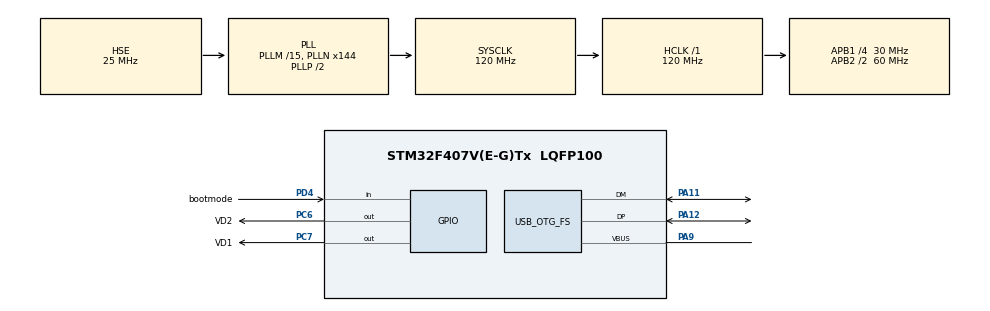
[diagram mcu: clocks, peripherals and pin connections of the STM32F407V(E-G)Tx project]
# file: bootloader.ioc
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Mcu.Family=STM32F4
USB_DEVICE.CLASS_NAME_FS=CDC
PH0-OSC_IN.Signal=RCC_OSC_IN
RCC.CortexFreq_Value=120000000
USB_DEVICE.VirtualModeFS=Cdc_FS
PC6.Signal=GPIO_Output
PC6.GPIO_Label=VD2
PA11.Mode=Device_Only
USB_DEVICE.VirtualMode-CDC_FS=Cdc
RCC.APB1CLKDivider=RCC_HCLK_DIV4
RCC.SYSCLKSource=RCC_SYSCLKSOURCE_PLLCLK
ProjectManager.StackSize=0x400
PD4.GPIO_PuPd=GPIO_PULLUP
PA9.Mode=Activate_VBUS
PA12.Signal=USB_OTG_FS_DP
TIM1.Prescaler=60000-1
ProjectManager.TargetToolchain=STM32CubeIDE
RCC.HCLKFreq_Value=120000000
VP_USB_DEVICE_VS_USB_DEVICE_CDC_FS.Mode=CDC_FS
PD4.Signal=GPIO_Input
RCC.APB2TimFreq_Value=120000000
PA9.Signal=USB_OTG_FS_VBUS
PC7.Signal=GPIO_Output
RCC.LSE_VALUE=32768
RCC.AHBFreq_Value=120000000
PH0-OSC_IN.Mode=HSE-External-Oscillator
RCC.HSE_VALUE=25000000
RCC.RCC_RTC_Clock_Source_FROM_HSE=RCC_RTCCLKSOURCE_HSE_DIV25
board=custom
PC7.GPIO_Speed=GPIO_SPEED_FREQ_LOW
RCC.VCOOutputFreq_Value=240000000
RCC.APB2Freq_Value=60000000
PD4.GPIO_Label=bootmode
PC7.PinState=GPIO_PIN_SET
PH1-OSC_OUT.Signal=RCC_OSC_OUT
RCC.RCC_RTC_Clock_SourceVirtual=RCC_RTCCLKSOURCE_HSE_DIV25
Mcu.Name=STM32F407V(E-G)Tx
VP_TIM1_VS_ClockSourceINT.Mode=Internal
PC7.GPIO_Label=VD1
PH1-OSC_OUT.Mode=HSE-External-Oscillator
RCC.48MHZClocksFreq_Value=48000000
RCC.SYSCLKFreq_VALUE=120000000
Mcu.Package=LQFP100
PA12.Mode=Device_Only
NVIC.OTG_FS_IRQn=true\:0\:0\:false\:false\:true\:false\:true
PA11.Signal=USB_OTG_FS_DM
USB_OTG_FS.VirtualMode=Device_Only
ProjectManager.HeapSize=0x200
NVIC.TIM1_UP_TIM10_IRQn=true\:0\:0\:false\:false\:true\:true\:true
RCC.HSI_VALUE=16000000
RCC.PLLQ=5
NVIC.PriorityGroup=NVIC_PRIORITYGROUP_4
RCC.APB2CLKDivider=RCC_HCLK_DIV2
RCC.PLLM=15
RCC.PLLN=144
RCC.APB1TimFreq_Value=60000000
TIM1.Period=1000-1
RCC.APB1Freq_Value=30000000

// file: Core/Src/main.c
/* USER CODE BEGIN Header */
/**
  ******************************************************************************
  * @file           : main.c
  * @brief          : Main program body
  ******************************************************************************
  * @attention
  *
  * <h2><center>&copy; Copyright (c) 2021 STMicroelectronics.
  * All rights reserved.</center></h2>
  *
  * This software component is licensed by ST under BSD 3-Clause license,
  * the "License"; You may not use this file except in compliance with the
  * License. You may obtain a copy of the License at:
  *                        opensource.org/licenses/BSD-3-Clause
  *
  ******************************************************************************
  */
/* USER CODE END Header */
#include "main.h"
#include "usb_device.h"

/* USER CODE BEGIN Includes */
#include "flash.h"
#include "usbd_cdc_if.h"
/* USER CODE END Includes */

/* USER CODE BEGIN PTD */
typedef  void (*pFunction)(void);
/* USER CODE END PTD */

/* USER CODE BEGIN PD */
#define FALSE 0
#define TRUE 1
#define VECT_TAB_OFFSET  0x10000  /* 0x00 */
pFunction Jump_To_Application;
uint32_t JumpAddress;
/* Global variables. */
static uint8_t xmodem_packet_number = 1u;         /**< Packet number counter. */
static uint32_t xmodem_actual_flash_address = 0u; /**< Address where we have to write. */
static uint8_t x_first_packet_received = FALSE;   /**< First packet or not. */

/* Local functions. */
//https://github.com/ferenc-nemeth/stm32-bootloader
/* Xmodem (128 bytes) packet format
 * Byte  0:       Header
 * Byte  1:       Packet number
 * Byte  2:       Packet number complemen
 * Bytes 3-130:   Data
 * Bytes 131-132: CRC
 */

/* Xmodem (1024 bytes) packet format
 * Byte  0:         Header
 * Byte  1:         Packet number
 * Byte  2:         Packet number complement
 * Bytes 3-1026:    Data
 * Bytes 1027-1028: CRC
 */

/* Maximum allowed errors (user defined). */
#define X_MAX_ERRORS ((uint8_t)3u)

/* Sizes of the packets. */
#define X_PACKET_NUMBER_SIZE  ((uint16_t)2u)
#define X_PACKET_128_SIZE     ((uint16_t)128u)
#define X_PACKET_1024_SIZE    ((uint16_t)1024u)
#define X_PACKET_CRC_SIZE     ((uint16_t)2u)

/* Indexes inside packets. */
#define X_PACKET_NUMBER_INDEX             ((uint16_t)0u)
#define X_PACKET_NUMBER_COMPLEMENT_INDEX  ((uint16_t)1u)
#define X_PACKET_CRC_HIGH_INDEX           ((uint16_t)0u)
#define X_PACKET_CRC_LOW_INDEX            ((uint16_t)1u)

/* Bytes defined by the protocol. */
#define X_SOH ((uint8_t)0x01u)  /**< Start Of Header (128 bytes). */
#define X_STX ((uint8_t)0x02u)  /**< Start Of Header (1024 bytes). */
#define X_EOT ((uint8_t)0x04u)  /**< End Of Transmission. */
#define X_ACK ((uint8_t)0x06u)  /**< Acknowledge. */
#define X_NAK ((uint8_t)0x15u)  /**< Not Acknowledge. */
#define X_CAN ((uint8_t)0x18u)  /**< Cancel. */
#define X_C   ((uint8_t)0x43u)  /**< ASCII "C" to notify the host we want to use CRC16. */

#define FLASH_OK ((uint16_t)1u)

typedef enum {
	UART_OK,
	UART_ERROR
} uart_status;

/* Status report for the functions. */
typedef enum {
  X_OK            = 0x00u, /**< The action was successful. */
  X_ERROR_CRC     = 0x01u, /**< CRC calculation error. */
  X_ERROR_NUMBER  = 0x02u, /**< Packet number mismatch error. */
  X_ERROR_UART    = 0x04u, /**< UART communication error. */
  X_ERROR_FLASH   = 0x08u, /**< Flash related error. */
  X_ERROR         = 0xFFu  /**< Generic error. */
} xmodem_status;
static uint16_t xmodem_calc_crc(uint8_t *data, uint16_t length);
static xmodem_status xmodem_handle_packet(uint8_t size);
static xmodem_status xmodem_error_handler(uint8_t *error_number, uint8_t max_error_number);
int xmodem_receive(void);
/* USER CODE END PD */

TIM_HandleTypeDef htim1;

/* USER CODE BEGIN PV */
const uint16_t crctab16[] = {
	0x0000, 0x1189, 0x2312, 0x329B, 0x4624, 0x57AD, 0x6536, 0x74BF,
	0x8C48, 0x9DC1, 0xAF5A, 0xBED3, 0xCA6C, 0xDBE5, 0xE97E, 0xF8F7,
	0x1081, 0x0108, 0x3393, 0x221A, 0x56A5, 0x472C, 0x75B7, 0x643E,
	0x9CC9, 0x8D40, 0xBFDB, 0xAE52, 0xDAED, 0xCB64, 0xF9FF, 0xE876,
	0x2102, 0x308B, 0x0210, 0x1399, 0x6726, 0x76AF, 0x4434, 0x55BD,
	0xAD4A, 0xBCC3, 0x8E58, 0x9FD1, 0xEB6E, 0xFAE7, 0xC87C, 0xD9F5,
	0x3183, 0x200A, 0x1291, 0x0318, 0x77A7, 0x662E, 0x54B5, 0x453C,
	0xBDCB, 0xAC42, 0x9ED9, 0x8F50, 0xFBEF, 0xEA66, 0xD8FD, 0xC974,
	0x4204, 0x538D, 0x6116, 0x709F, 0x0420, 0x15A9, 0x2732, 0x36BB,
	0xCE4C, 0xDFC5, 0xED5E, 0xFCD7, 0x8868, 0x99E1, 0xAB7A, 0xBAF3,
	0x5285, 0x430C, 0x7197, 0x601E, 0x14A1, 0x0528, 0x37B3, 0x263A,
	0xDECD, 0xCF44, 0xFDDF, 0xEC56, 0x98E9, 0x8960, 0xBBFB, 0xAA72,
	0x6306, 0x728F, 0x4014, 0x519D, 0x2522, 0x34AB, 0x0630, 0x17B9,
	0xEF4E, 0xFEC7, 0xCC5C, 0xDDD5, 0xA96A, 0xB8E3, 0x8A78, 0x9BF1,
	0x7387, 0x620E, 0x5095, 0x411C, 0x35A3, 0x242A, 0x16B1, 0x0738,
	0xFFCF, 0xEE46, 0xDCDD, 0xCD54, 0xB9EB, 0xA862, 0x9AF9, 0x8B70,
	0x8408, 0x9581, 0xA71A, 0xB693, 0xC22C, 0xD3A5, 0xE13E, 0xF0B7,
	0x0840, 0x19C9, 0x2B52, 0x3ADB, 0x4E64, 0x5FED, 0x6D76, 0x7CFF,
	0x9489, 0x8500, 0xB79B, 0xA612, 0xD2AD, 0xC324, 0xF1BF, 0xE036,
	0x18C1, 0x0948, 0x3BD3, 0x2A5A, 0x5EE5, 0x4F6C, 0x7DF7, 0x6C7E,
	0xA50A, 0xB483, 0x8618, 0x9791, 0xE32E, 0xF2A7, 0xC03C, 0xD1B5,
	0x2942, 0x38CB, 0x0A50, 0x1BD9, 0x6F66, 0x7EEF, 0x4C74, 0x5DFD,
	0xB58B, 0xA402, 0x9699, 0x8710, 0xF3AF, 0xE226, 0xD0BD, 0xC134,
	0x39C3, 0x284A, 0x1AD1, 0x0B58, 0x7FE7, 0x6E6E, 0x5CF5, 0x4D7C,
	0xC60C, 0xD785, 0xE51E, 0xF497, 0x8028, 0x91A1, 0xA33A, 0xB2B3,
	0x4A44, 0x5BCD, 0x6956, 0x78DF, 0x0C60, 0x1DE9, 0x2F72, 0x3EFB,
	0xD68D, 0xC704, 0xF59F, 0xE416, 0x90A9, 0x8120, 0xB3BB, 0xA232,
	0x5AC5, 0x4B4C, 0x79D7, 0x685E, 0x1CE1, 0x0D68, 0x3FF3, 0x2E7A,
	0xE70E, 0xF687, 0xC41C, 0xD595, 0xA12A, 0xB0A3, 0x8238, 0x93B1,
	0x6B46, 0x7ACF, 0x4854, 0x59DD, 0x2D62, 0x3CEB, 0x0E70, 0x1FF9,
	0xF78F, 0xE606, 0xD49D, 0xC514, 0xB1AB, 0xA022, 0x92B9, 0x8330,
	0x7BC7, 0x6A4E, 0x58D5, 0x495C, 0x3DE3, 0x2C6A, 0x1EF1, 0x0F78
};

uint16_t crc16(size_t start, size_t stop) {
	uint16_t res = 0xffff;

	for (size_t address = start; address<stop;address++) {
		uint8_t b = *(uint8_t*)address;
		res = ((res >> 8) & 0xff) ^ crctab16[(res ^ b) & 0xff];
	}

	return (~res) & 0xffff;
}
/* USER CODE END PV */

void SystemClock_Config(void);
static void MX_GPIO_Init(void);
static void MX_TIM1_Init(void);

/* USER CODE BEGIN 0 */
int _write(int file, char *ptr, int len)
{
	/* Implement your write code here, this is used by puts and printf for example */
	int i=0;
	for(i=0 ; i<len ; i++)
		ITM_SendChar((*ptr++));
	return len;
}
/* USER CODE END 0 */

int main(void)
{

  /* MCU Configuration--------------------------------------------------------*/

  /* Reset of all peripherals, Initializes the Flash interface and the Systick. */
  HAL_Init();

  /* Configure the system clock */
  SystemClock_Config();

  /* USER CODE BEGIN SysInit */
  MX_GPIO_Init();
  //If button is not pressed bootmode_pin has logic high
  if (HAL_GPIO_ReadPin(bootmode_GPIO_Port, bootmode_Pin)){
	  //Check if there is new frameware? uploaded via web interface
	  if (((*(__IO uint32_t*)FLASH_USER_START_ADDR) & 0x2FFE0000 ) == 0x20020000){
		  HAL_GPIO_TogglePin(VD1_GPIO_Port, VD1_Pin|VD2_Pin);

		  //Calculate checksum
		  uint16_t checksum = *(uint16_t*)(ADDR_FLASH_SECTOR_11+(128*1024)-2);
		  int size = *(int*)(ADDR_FLASH_SECTOR_11+128*1024-10);

		  uint16_t savedcrc = crc16(FLASH_USER_START_ADDR,FLASH_USER_START_ADDR+size);

		  if(savedcrc==checksum){//CRC OK, update application
			  clearFlash(CONFIGURATION_START_ADDR,CONFIGURATION_START_ADDR);
			  clearFlash(APP_FLASH_FIRST_PAGE_ADDRESS, FLASH_USER_START_ADDR-1);
			  CopyData(APP_FLASH_FIRST_PAGE_ADDRESS, FLASH_USER_START_ADDR, (ADDR_FLASH_SECTOR_11+GetSectorSize(ADDR_FLASH_SECTOR_11)-1));
		  }

		  clearFlash(FLASH_USER_START_ADDR, ADDR_FLASH_SECTOR_11);
		  HAL_NVIC_SystemReset();
	  }

	  /* Check if valid stack address (RAM address) then jump to user application */
	  if ((((*(__IO uint32_t*)APP_FLASH_FIRST_PAGE_ADDRESS) & 0x2FFE0000 ) == 0x20020000))
	  {
		  /* Jump to user application */
		  JumpAddress = *(__IO uint32_t*) (APP_FLASH_FIRST_PAGE_ADDRESS + 4);
		  __ISB();
		  __DSB();
		  //reset RCC settings
		  SysTick->CTRL &= ~(SysTick_CTRL_CLKSOURCE_Msk | SysTick_CTRL_ENABLE_Msk);
		  Jump_To_Application = (pFunction) JumpAddress;
		  /* Initialize user application's Stack Pointer */
		  __set_MSP(*(__IO uint32_t*) APP_FLASH_FIRST_PAGE_ADDRESS);
		  Jump_To_Application();
	  }
  }
  /* USER CODE END SysInit */

  /* Initialize all configured peripherals */
  MX_GPIO_Init();
  MX_USB_DEVICE_Init();
  MX_TIM1_Init();

  /* Infinite loop */
  /* USER CODE BEGIN WHILE */

  //Button was pressed, go to XMODEM update mode
  //https://github.com/ferenc-nemeth/stm32-bootloader

  uint8_t error_number = 0u;

  x_first_packet_received = FALSE;
  xmodem_packet_number = 1u;
  xmodem_actual_flash_address = APP_FLASH_FIRST_PAGE_ADDRESS;

  unsigned char header;

  while (1)
  {
	  /* USER CODE END WHILE */

	  /* USER CODE BEGIN 3 */
	  //XMODEM
	  if(!x_first_packet_received){
		  HAL_Delay(500);
		  uart_transmit_ch('C');
	  }

	  if (CDC_ReadRxBuffer_FS(&header, 1) == USB_CDC_RX_BUFFER_OK){
		  xmodem_status packet_status = X_ERROR;
		  switch(header)
		  {
		  case X_SOH:
		  case X_STX:
			  while(CDC_GetRxBufferBytesAvailable_FS()<132);
			  packet_status = xmodem_handle_packet(header);
			  if (X_OK == packet_status)
			  {
				  x_first_packet_received = TRUE;
				  uart_transmit_ch(X_ACK);
			  }
			  /* If the error was flash related, then immediately set the error counter to max (graceful abort). */
			  else if (X_ERROR_FLASH == packet_status)
			  {
				  error_number = X_MAX_ERRORS;
				  xmodem_error_handler(&error_number, X_MAX_ERRORS);
			  }
			  /* Error while processing the packet, either send a NAK or do graceful abort. */
			  else
			  {
				  xmodem_error_handler(&error_number, X_MAX_ERRORS);
			  }
			  break;
			  /* End of Transmission. */
		  case X_EOT:
			  /* ACK, feedback to user (as a text), then jump to user application. */
			  (void)uart_transmit_ch(X_ACK);
			  clearFlash(CONFIGURATION_START_ADDR,CONFIGURATION_START_ADDR);
			  (void)uart_transmit_str((uint8_t*)"\n\rFirmware updated!\n\r");
			  break;
			  /* Abort from host. */
		  case X_CAN:
			  //status = X_ERROR;
			  break;
		  default:
			  /* Wrong header. */
				xmodem_error_handler(&error_number, X_MAX_ERRORS);
			  break;
		  }
	  }
	  header = 0x00;
  }
  /* USER CODE END 3 */
}

void SystemClock_Config(void)
{
  RCC_OscInitTypeDef RCC_OscInitStruct = {0};
  RCC_ClkInitTypeDef RCC_ClkInitStruct = {0};

  /** Configure the main internal regulator output voltage
  */
  __HAL_RCC_PWR_CLK_ENABLE();
  __HAL_PWR_VOLTAGESCALING_CONFIG(PWR_REGULATOR_VOLTAGE_SCALE1);
  /** Initializes the RCC Oscillators according to the specified parameters
  * in the RCC_OscInitTypeDef structure.
  */
  RCC_OscInitStruct.OscillatorType = RCC_OSCILLATORTYPE_HSE;
  RCC_OscInitStruct.HSEState = RCC_HSE_ON;
  RCC_OscInitStruct.PLL.PLLState = RCC_PLL_ON;
  RCC_OscInitStruct.PLL.PLLSource = RCC_PLLSOURCE_HSE;
  RCC_OscInitStruct.PLL.PLLM = 15;
  RCC_OscInitStruct.PLL.PLLN = 144;
  RCC_OscInitStruct.PLL.PLLP = RCC_PLLP_DIV2;
  RCC_OscInitStruct.PLL.PLLQ = 5;
  if (HAL_RCC_OscConfig(&RCC_OscInitStruct) != HAL_OK)
  {
    Error_Handler();
  }
  /** Initializes the CPU, AHB and APB buses clocks
  */
  RCC_ClkInitStruct.ClockType = RCC_CLOCKTYPE_HCLK|RCC_CLOCKTYPE_SYSCLK
                              |RCC_CLOCKTYPE_PCLK1|RCC_CLOCKTYPE_PCLK2;
  RCC_ClkInitStruct.SYSCLKSource = RCC_SYSCLKSOURCE_PLLCLK;
  RCC_ClkInitStruct.AHBCLKDivider = RCC_SYSCLK_DIV1;
  RCC_ClkInitStruct.APB1CLKDivider = RCC_HCLK_DIV4;
  RCC_ClkInitStruct.APB2CLKDivider = RCC_HCLK_DIV2;

  if (HAL_RCC_ClockConfig(&RCC_ClkInitStruct, FLASH_LATENCY_3) != HAL_OK)
  {
    Error_Handler();
  }
}

static void MX_TIM1_Init(void)
{

  TIM_ClockConfigTypeDef sClockSourceConfig = {0};
  TIM_MasterConfigTypeDef sMasterConfig = {0};

  htim1.Instance = TIM1;
  htim1.Init.Prescaler = 60000-1;
  htim1.Init.CounterMode = TIM_COUNTERMODE_UP;
  htim1.Init.Period = 1000-1;
  htim1.Init.ClockDivision = TIM_CLOCKDIVISION_DIV1;
  htim1.Init.RepetitionCounter = 0;
  htim1.Init.AutoReloadPreload = TIM_AUTORELOAD_PRELOAD_DISABLE;
  if (HAL_TIM_Base_Init(&htim1) != HAL_OK)
  {
    Error_Handler();
  }
  sClockSourceConfig.ClockSource = TIM_CLOCKSOURCE_INTERNAL;
  if (HAL_TIM_ConfigClockSource(&htim1, &sClockSourceConfig) != HAL_OK)
  {
    Error_Handler();
  }
  sMasterConfig.MasterOutputTrigger = TIM_TRGO_RESET;
  sMasterConfig.MasterSlaveMode = TIM_MASTERSLAVEMODE_DISABLE;
  if (HAL_TIMEx_MasterConfigSynchronization(&htim1, &sMasterConfig) != HAL_OK)
  {
    Error_Handler();
  }
  /* USER CODE BEGIN TIM1_Init 2 */
  HAL_TIM_Base_Start_IT(&htim1); // Start the uptime timer
  /* USER CODE END TIM1_Init 2 */

}

static void MX_GPIO_Init(void)
{
  GPIO_InitTypeDef GPIO_InitStruct = {0};

  /* GPIO Ports Clock Enable */
  __HAL_RCC_GPIOH_CLK_ENABLE();
  __HAL_RCC_GPIOC_CLK_ENABLE();
  __HAL_RCC_GPIOA_CLK_ENABLE();
  __HAL_RCC_GPIOD_CLK_ENABLE();

  /*Configure GPIO pin Output Level */
  HAL_GPIO_WritePin(VD2_GPIO_Port, VD2_Pin, GPIO_PIN_RESET);

  /*Configure GPIO pin Output Level */
  HAL_GPIO_WritePin(VD1_GPIO_Port, VD1_Pin, GPIO_PIN_SET);

  /*Configure GPIO pins : VD2_Pin VD1_Pin */
  GPIO_InitStruct.Pin = VD2_Pin|VD1_Pin;
  GPIO_InitStruct.Mode = GPIO_MODE_OUTPUT_PP;
  GPIO_InitStruct.Pull = GPIO_NOPULL;
  GPIO_InitStruct.Speed = GPIO_SPEED_FREQ_LOW;
  HAL_GPIO_Init(GPIOC, &GPIO_InitStruct);

  /*Configure GPIO pin : bootmode_Pin */
  GPIO_InitStruct.Pin = bootmode_Pin;
  GPIO_InitStruct.Mode = GPIO_MODE_INPUT;
  GPIO_InitStruct.Pull = GPIO_PULLUP;
  HAL_GPIO_Init(bootmode_GPIO_Port, &GPIO_InitStruct);

}

/* USER CODE BEGIN 4 */
/**
 * @brief   Calculates the CRC-16 for the input package.
 * @param   *data:  Array of the data which we want to calculate.
 * @param   length: Size of the data, either 128 or 1024 bytes.
 * @return  status: The calculated CRC.
 */
static uint16_t xmodem_calc_crc(uint8_t *data, uint16_t length)
{
    uint16_t crc = 0u;
    while (length)
    {
        length--;
        crc = crc ^ ((uint16_t)*data++ << 8u);
        for (uint8_t i = 0u; i < 8u; i++)
        {
            if (crc & 0x8000u)
            {
                crc = (crc << 1u) ^ 0x1021u;
            }
            else
            {
                crc = crc << 1u;
            }
        }
    }
    return crc;
}

/**
 * @brief   This function handles the data packet we get from the xmodem protocol.
 * @param   header: SOH or STX.
 * @return  status: Report about the packet.
 */
static xmodem_status xmodem_handle_packet(uint8_t header)
{
  xmodem_status status = X_OK;
  uint16_t size = 0u;

  /* 2 bytes for packet number, 1024 for data, 2 for CRC*/
  uint8_t received_packet_number[X_PACKET_NUMBER_SIZE];
  uint8_t received_packet_data[X_PACKET_1024_SIZE];
  uint8_t received_packet_crc[X_PACKET_CRC_SIZE];

  /* Get the size of the data. */
  if (X_SOH == header)
  {
    size = X_PACKET_128_SIZE;
  }
  else if (X_STX == header)
  {
    size = X_PACKET_1024_SIZE;
  }
  else
  {
    /* Wrong header type. This shoudn't be possible... */
    status |= X_ERROR;
  }

  uart_status comm_status = UART_OK;
  /* Get the packet number, data and CRC from UART. */

  comm_status |= CDC_ReadRxBuffer_FS(&received_packet_number[0u], X_PACKET_NUMBER_SIZE);
  comm_status |= CDC_ReadRxBuffer_FS(&received_packet_data[0u], size);
  comm_status |= CDC_ReadRxBuffer_FS(&received_packet_crc[0u], X_PACKET_CRC_SIZE);

  CDC_FlushRxBuffer_FS();
  /* Merge the two bytes of CRC. */
  uint16_t crc_received = ((uint16_t)received_packet_crc[X_PACKET_CRC_HIGH_INDEX] << 8u) | ((uint16_t)received_packet_crc[X_PACKET_CRC_LOW_INDEX]);
  /* We calculate it too. */
  uint16_t crc_calculated = xmodem_calc_crc(&received_packet_data[0u], size);

  /* Communication error. */
  if (UART_OK != comm_status)
  {
    status |= X_ERROR_UART;
  }

  /* If it is the first packet, then erase the memory. */
  if ((X_OK == status) && (FALSE == x_first_packet_received))
  {
    if (FLASH_OK == clearFlash(APP_FLASH_FIRST_PAGE_ADDRESS, FLASH_USER_START_ADDR-1))
    {
      x_first_packet_received = TRUE;
    }
    else
    {
      status |= X_ERROR_FLASH;
    }
  }

  /* Error handling and flashing. */
  if (X_OK == status)
  {
    if (xmodem_packet_number != received_packet_number[0u])
    {
      /* Packet number counter mismatch. */
      status |= X_ERROR_NUMBER;
    }
    if (255u != (received_packet_number[X_PACKET_NUMBER_INDEX] + received_packet_number[X_PACKET_NUMBER_COMPLEMENT_INDEX]))
    {
      /* The sum of the packet number and packet number complement aren't 255. */
      /* The sum always has to be 255. */
      status |= X_ERROR_NUMBER;
    }
    if (crc_calculated != crc_received)
    {
      /* The calculated and received CRC are different. */
      status |= X_ERROR_CRC;
    }
  }

    /* Do the actual flashing (if there weren't any errors). */
    if ((X_OK == status) && (FLASH_OK != WriteDeviceAddressOffset((char*)&received_packet_data[0u], size, xmodem_actual_flash_address-APP_FLASH_FIRST_PAGE_ADDRESS)))
    {
      /* Flashing error. */
      status |= X_ERROR_FLASH;
    }

  /* Raise the packet number and the address counters (if there weren't any errors). */
  if (X_OK == status)
  {
    xmodem_packet_number++;
    xmodem_actual_flash_address += size;
  }

  return status;
}

/**
 * @brief   Handles the xmodem error.
 *          Raises the error counter, then if the number of the errors reached critical, do a graceful abort, otherwise send a NAK.
 * @param   *error_number:    Number of current errors (passed as a pointer).
 * @param   max_error_number: Maximal allowed number of errors.
 * @return  status: X_ERROR in case of too many errors, X_OK otherwise.
 */
static xmodem_status xmodem_error_handler(uint8_t *error_number, uint8_t max_error_number)
{
  xmodem_status status = X_OK;
  /* Raise the error counter. */
  (*error_number)++;
  /* If the counter reached the max value, then abort. */
  if ((*error_number) >= max_error_number)
  {
    /* Graceful abort. */
    (void)uart_transmit_ch(X_CAN);
    (void)uart_transmit_ch(X_CAN);
    status = X_ERROR;
    clearFlash(FLASH_USER_START_ADDR, FLASH_USER_END_ADDR);
  }
  /* Otherwise send a NAK for a repeat. */
  else
  {
    (void)uart_transmit_ch(X_NAK);
    status = X_OK;
  }
  return status;
}
/* USER CODE END 4 */

void Error_Handler(void)
{
  __disable_irq();
  while (1)
  {
  }
}

/************************ (C) COPYRIGHT STMicroelectronics *****END OF FILE****/
